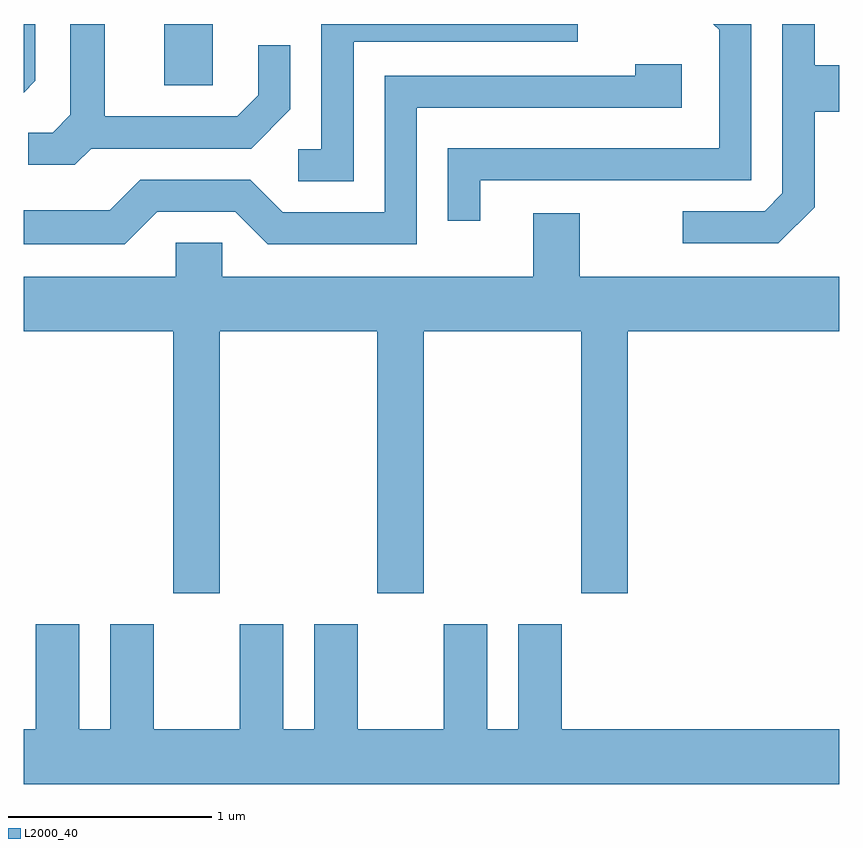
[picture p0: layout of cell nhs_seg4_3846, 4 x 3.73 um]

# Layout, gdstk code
import gdstk
lib = gdstk.Library(unit=1e-6, precision=1e-09)
def R(c, l, rs):  # rectangles x0, y0, x1, y1
    for r in rs: c.add(gdstk.rectangle(r[:2], r[2:], *l))
def P(c, l, *ps):  # polygons
    for p in ps: c.add(gdstk.Polygon(p, *l))
L2000_40 = (2000, 40)

nhs_seg4_3846 = lib.new_cell('nhs_seg4_3846')
R(nhs_seg4_3846, L2000_40, [(298.301,1333.681,298.539,1333.982)])
P(nhs_seg4_3846, L2000_40, [(301.489,1333.084),(301.489,1333.551),(301.611,1333.551),(301.611,1333.779),(301.489,1333.779),(301.489,1333.982),(301.331,1333.982),(301.331,1333.152),(301.244,1333.064),(300.843,1333.064),(300.843,1332.906),(301.312,1332.906)],
  [(299.229,1333.896),(300.328,1333.896),(300.328,1333.982),(299.071,1333.982),(299.071,1333.369),(298.958,1333.369),(298.958,1333.211),(299.229,1333.211)],
  [(297.669,1333.704),(297.669,1333.982),(297.611,1333.982),(297.611,1333.646)],
  [(297.942,1333.371),(298.727,1333.371),(298.919,1333.564),(298.919,1333.878),(298.761,1333.878),(298.761,1333.632),(298.659,1333.529),(298.009,1333.529),(298.009,1333.982),(297.841,1333.982),(297.841,1333.537),(297.754,1333.449),(297.633,1333.449),(297.633,1333.291),(297.862,1333.291)],
  [(299.849,1333.216),(301.179,1333.216),(301.179,1333.982),(300.993,1333.982),(301.021,1333.954),(301.021,1333.374),(299.691,1333.374),(299.691,1333.018),(299.849,1333.018)],
  [(298.267,1333.061),(298.649,1333.061),(298.809,1332.901),(299.539,1332.901),(299.539,1333.571),(300.839,1333.571),(300.839,1333.784),(300.611,1333.784),(300.611,1333.729),(299.381,1333.729),(299.381,1333.059),(298.882,1333.059),(298.722,1333.219),(298.184,1333.219),(298.034,1333.069),(297.611,1333.069),(297.611,1332.901),(298.107,1332.901)],
  [(298.574,1332.476),(299.346,1332.476),(299.346,1331.191),(299.574,1331.191),(299.574,1332.476),(300.346,1332.476),(300.346,1331.191),(300.574,1331.191),(300.574,1332.476),(301.611,1332.476),(301.611,1332.744),(300.339,1332.744),(300.339,1333.054),(300.111,1333.054),(300.111,1332.744),(298.584,1332.744),(298.584,1332.909),(298.356,1332.909),(298.356,1332.744),(297.611,1332.744),(297.611,1332.476),(298.346,1332.476),(298.346,1331.191),(298.574,1331.191)],
  [(301.611,1330.524),(300.249,1330.524),(300.249,1331.039),(300.036,1331.039),(300.036,1330.524),(299.884,1330.524),(299.884,1331.039),(299.671,1331.039),(299.671,1330.524),(299.249,1330.524),(299.249,1331.039),(299.036,1331.039),(299.036,1330.524),(298.884,1330.524),(298.884,1331.039),(298.671,1331.039),(298.671,1330.524),(298.249,1330.524),(298.249,1331.039),(298.036,1331.039),(298.036,1330.524),(297.884,1330.524),(297.884,1331.039),(297.671,1331.039),(297.671,1330.524),(297.611,1330.524),(297.611,1330.256),(301.611,1330.256)])

lib.write_gds('nhs_seg4_3846.gds')
